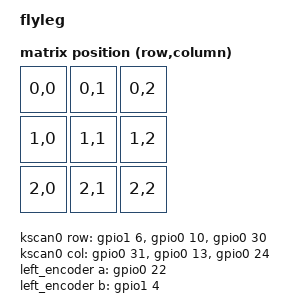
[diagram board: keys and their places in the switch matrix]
/*
 * Copyright (c) 2020 Pete Johanson
 *
 * SPDX-License-Identifier: MIT
 */

/dts-v1/;
#include <nordic/nrf52840_qiaa.dtsi>
#include <dt-bindings/zmk/matrix-transform.h>

/ {
	model = "flyleg";
	compatible = "luanty,flyleg";

	chosen {
		zephyr,code-partition = &code_partition;
		// zephyr,console = &uart0;
		//zephyr,bt-mon-uart = &uart0;
		//zephyr,bt-c2h-uart = &uart0;
		zephyr,sram = &sram0;
		zephyr,flash = &flash0;
		zmk,kscan = &kscan0;
		zmk,matrix_transform = &default_transform;
	};
	default_transform: keymap_transform_0 {
		compatible = "zmk,matrix-transform";
		columns = <3>;
		rows = <3>;
		map = <
RC(0,0) RC(0,1) RC(0,2)
RC(1,0) RC(1,1) RC(1,2)
RC(2,0) RC(2,1) RC(2,2)
		>;
	};
	leds {
		compatible = "gpio-leds";
		blue_led: led_0 {
			gpios = <&gpio1 10 GPIO_ACTIVE_LOW>;
			label = "Blue LED";
		};
	};
	kscan0: kscan {
		compatible = "zmk,kscan-gpio-matrix";
		label = "KSCAN";
		diode-direction = "col2row";
		row-gpios
			= <&gpio1 6 (GPIO_ACTIVE_HIGH | GPIO_PULL_DOWN)>
			, <&gpio0 10  (GPIO_ACTIVE_HIGH | GPIO_PULL_DOWN)>
			, <&gpio0 30  (GPIO_ACTIVE_HIGH | GPIO_PULL_DOWN)>
			;
		col-gpios
			= <&gpio0 31 GPIO_ACTIVE_HIGH>
			, <&gpio0 13 GPIO_ACTIVE_HIGH>
			, <&gpio0 24  GPIO_ACTIVE_HIGH>
			;
	};
	left_encoder: encoder_left {
		compatible = "alps,ec11";
		label = "LEFT_ENCODER";
		a-gpios = <&gpio0 22 (GPIO_ACTIVE_HIGH | GPIO_PULL_UP)>;
		b-gpios = <&gpio1 4 (GPIO_ACTIVE_HIGH | GPIO_PULL_UP)>;
		resolution = <4>;
		status = "okay";
	};

};

&gpio0 {
	status = "okay";
};

&gpio1 {
	status = "okay";
};

&uart0 {
	compatible = "nordic,nrf-uart";
	current-speed = <115200>;
	tx-pin = <6>;
	rx-pin = <8>;
};

&i2c0 {
	compatible = "nordic,nrf-twi";
	sda-pin = <15>;
	scl-pin = <17>;
};

&uart0 {
	compatible = "nordic,nrf-uarte";
	status = "okay";
	current-speed = <115200>;
	tx-pin = <39>;
	rx-pin = <34>;
	rts-pin = <33>;
	cts-pin = <12>;
};

&usbd {
	status = "okay";
};


&flash0 {
	/*
	 * For more information, see:
	 * http://docs.zephyrproject.org/latest/devices/dts/flash_partitions.html
	 */
	partitions {
		compatible = "fixed-partitions";
		#address-cells = <1>;
		#size-cells = <1>;

		boot_partition: partition@0 {
			label = "adafruit_boot";
			reg = <0x000000000 0x0000C000>;
		};
		code_partition: partition@26000 {
			label = "code_partition";
			reg = <0x00026000 0x000d2000>;
		};

		/*
		 * The flash starting at 0x000f8000 and ending at
		 * 0x000fffff is reserved for use by the application.
		 */

		/*
		 * Storage partition will be used by FCB/LittleFS/NVS
		 * if enabled.
		 */
		storage_partition: partition@f8000 {
			label = "storage";
			reg = <0x000f8000 0x00008000>;
		};
	};
};
